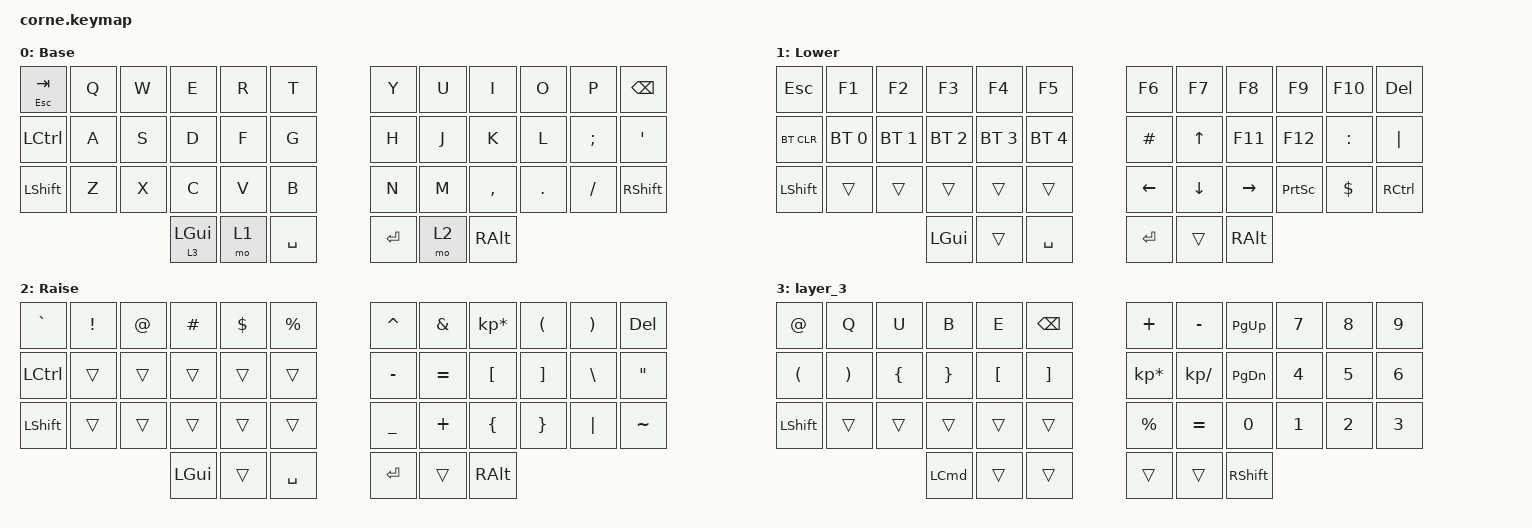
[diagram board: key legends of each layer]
/*
 * Copyright (c) 2020 The ZMK Contributors
 *
 * SPDX-License-Identifier: MIT
 */

#include <behaviors.dtsi>
#include <dt-bindings/zmk/bt.h>
#include <dt-bindings/zmk/keys.h>

/ {
    behaviors {
        HMR: HMR {
            compatible = "zmk,behavior-hold-tap";
            label = "HMR";
            bindings = <&mo>, <&kp>;

            #binding-cells = <2>;
            tapping-term-ms = <280>;
            quick-tap-ms = <175>;
            flavor = "tap-preferred";
            hold-trigger-on-release;
            hold-trigger-key-positions = <36>;
        };

        HMR2: HMR2 {
            compatible = "zmk,behavior-hold-tap";
            label = "HMR2";
            bindings = <&kp>, <&kp>;

            #binding-cells = <2>;
            tapping-term-ms = <280>;
            quick-tap-ms = <175>;
            flavor = "tap-preferred";
            hold-trigger-on-release;
            hold-trigger-key-positions = <0 12 24 1 13 25 2 14 26 3 15 27 4 16 28 5 17 29 6 18 30 7 19 31 20 8 32 9 21 33 10 22 34 11 23 35 32>;
        };
    };

    keymap {
        compatible = "zmk,keymap";

        default_layer {
            // -----------------------------------------------------------------------------------------
            // |  TAB |  Q  |  W  |  E  |  R  |  T  |   |  Y  |  U   |  I  |  O  |  P  | BKSP |
            // | CTRL |  A  |  S  |  D  |  F  |  G  |   |  H  |  J   |  K  |  L  |  ;  |  '   |
            // | SHFT |  Z  |  X  |  C  |  V  |  B  |   |  N  |  M   |  ,  |  .  |  /  | ESC  |
            //                    | GUI | LWR | SPC |   | ENT | RSE  | ALT |

            display-name = "Base";
            bindings = <
&HMR2 ESC TAB  &kp Q  &kp W  &kp E        &kp R  &kp T        &kp Y    &kp U  &kp I      &kp O    &kp P     &kp BSPC
&kp LCTRL      &kp A  &kp S  &kp D        &kp F  &kp G        &kp H    &kp J  &kp K      &kp L    &kp SEMI  &kp SQT
&kp LSHFT      &kp Z  &kp X  &kp C        &kp V  &kp B        &kp N    &kp M  &kp COMMA  &kp DOT  &kp FSLH  &kp RIGHT_SHIFT
                             &HMR 3 LGUI  &mo 1  &kp SPACE    &kp RET  &mo 2  &kp RALT
            >;
        };

        lower_layer {
            // -----------------------------------------------------------------------------------------
            // |  TAB |  1  |  2  |  3  |  4  |  5  |   |  6  |  7  |  8  |  9  |  0  | BKSP |
            // | BTCLR| BT1 | BT2 | BT3 | BT4 | BT5 |   | LFT | DWN |  UP | RGT |     |      |
            // | SHFT |     |     |     |     |     |   |     |     |     |     |     |      |
            //                    | GUI |     | SPC |   | ENT |     | ALT |

            display-name = "Lower";
            bindings = <
&kp ESC     &kp F1        &kp F2        &kp F3        &kp F4        &kp F5          &kp F6          &kp F7          &kp F8           &kp F9           &kp F10     &kp DEL
&bt BT_CLR  &bt BT_SEL 0  &bt BT_SEL 1  &bt BT_SEL 2  &bt BT_SEL 3  &bt BT_SEL 4    &kp HASH        &kp UP          &kp F11          &kp F12          &kp COLON   &kp PIPE
&kp LSHFT   &trans        &trans        &trans        &trans        &trans          &kp LEFT_ARROW  &kp DOWN_ARROW  &kp RIGHT_ARROW  &kp PRINTSCREEN  &kp DOLLAR  &kp RCTRL
                                        &kp LGUI      &trans        &kp SPACE       &kp RET         &trans          &kp RALT
            >;
        };

        raise_layer {
            // -----------------------------------------------------------------------------------------
            // |  TAB |  !  |  @  |  #  |  $  |  %  |   |  ^  |  &  |  *  |  (  |  )  | BKSP |
            // | CTRL |     |     |     |     |     |   |  -  |  =  |  [  |  ]  |  \  |  `   |
            // | SHFT |     |     |     |     |     |   |  _  |  +  |  {  |  }  | "|" |  ~   |
            //                    | GUI |     | SPC |   | ENT |     | ALT |

            display-name = "Raise";
            bindings = <
&kp GRAVE  &kp EXCL  &kp AT  &kp HASH  &kp DLLR  &kp PRCNT    &kp CARET  &kp AMPS   &kp KP_MULTIPLY  &kp LPAR  &kp RPAR  &kp DEL
&kp LCTRL  &trans    &trans  &trans    &trans    &trans       &kp MINUS  &kp EQUAL  &kp LBKT         &kp RBKT  &kp BSLH  &kp DOUBLE_QUOTES
&kp LSHFT  &trans    &trans  &trans    &trans    &trans       &kp UNDER  &kp PLUS   &kp LBRC         &kp RBRC  &kp PIPE  &kp TILDE
                             &kp LGUI  &trans    &kp SPACE    &kp RET    &trans     &kp RALT
            >;
        };

        layer_3 {
            bindings = <
&kp AT_SIGN           &kp Q                  &kp U           &kp B             &kp E             &kp BACKSPACE        &kp PLUS         &kp MINUS      &kp PAGE_UP      &kp N7  &kp N8  &kp N9
&kp LEFT_PARENTHESIS  &kp RIGHT_PARENTHESIS  &kp LEFT_BRACE  &kp RIGHT_BRACE   &kp LEFT_BRACKET  &kp RIGHT_BRACKET    &kp KP_MULTIPLY  &kp KP_DIVIDE  &kp PAGE_DOWN    &kp N4  &kp N5  &kp N6
&kp LEFT_SHIFT        &trans                 &trans          &trans            &trans            &trans               &kp PERCENT      &kp EQUAL      &kp N0           &kp N1  &kp N2  &kp N3
                                                             &kp LEFT_COMMAND  &trans            &trans               &trans           &trans         &kp RIGHT_SHIFT
            >;
        };
    };
};
